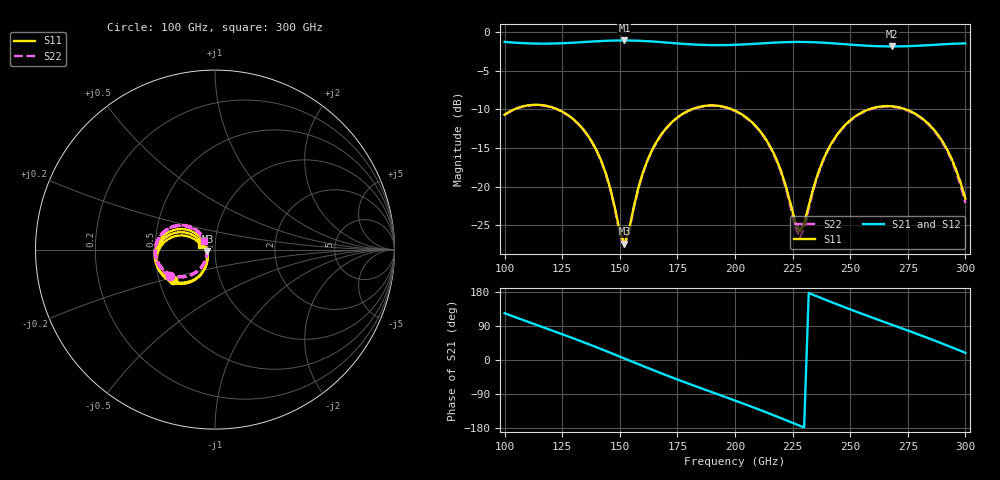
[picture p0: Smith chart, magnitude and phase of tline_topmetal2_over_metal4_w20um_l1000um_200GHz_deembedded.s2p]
! Created with skrf 2.0.1 (http://scikit-rf.org).
# GHz S DB R 50.0
!freq dBS11 angS11 dBS21 angS21 dBS12 angS12 dBS22 angS22
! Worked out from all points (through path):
!   101 points, 100 GHz to 300 GHz, reference 50 ohm
!   highest |S21| = -1.07 dB at 152 GHz (marker M1); lowest = -1.8 dB at 268 GHz (marker M2)
!   group delay of S21, straight-line fit = 6.47 ps
!   lowest |S11| = -27.4 dB at 152 GHz (marker M3), VSWR 1.09, Z = 46 - j0.805 ohm
!   |S11| at or under -10 dB: 123 GHz to 181.2 GHz (58.17 GHz wide, 38.2 % of centre); 198.7 GHz to 258 GHz (59.39 GHz wide, 26 % of centre); 274.1 GHz to end of sweep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
!   |S22| runs from -27.7 to -9.4 dB; largest |S21 - S12| = 9.8e-14
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100  -10.69 -143.9  -1.26 123.5  -1.26 123.5  -10.73 -149.1
108  -9.61 -159.6  -1.42 105.5  -1.42 105.5  -9.64 -165.3
118  -9.53 -179.0  -1.48 83.5  -1.48 83.5  -9.57 174.8
134  -12.54 151.2  -1.28 47.5  -1.28 47.5  -12.59 143.9
144  -18.37 139.3  -1.12 23.7  -1.12 23.7  -18.44 131.2
152  -27.39 -168.2  -1.07 4.0  -1.07 4.0  -27.73 -176.0
160  -18.22 -118.3  -1.13 -15.7  -1.13 -15.7  -18.29 -126.1
168  -13.26 -127.1  -1.29 -35.0  -1.29 -35.0  -13.31 -135.6
184  -9.71 -156.2  -1.62 -71.7  -1.62 -71.7  -9.76 -165.9
200  -10.17 174.0  -1.63 -107.0  -1.63 -107.0  -10.22 163.1
216  -15.22 148.3  -1.37 -144.0  -1.37 -144.0  -15.32 135.8
220  -18.02 146.4  -1.31 -153.6  -1.31 -153.6  -18.19 133.1
228  -25.81 -168.4  -1.26 -173.3  -1.26 -173.3  -26.67 179.6
234  -20.23 -120.8  -1.30 171.9  -1.30 171.9  -20.48 -130.7
240  -15.42 -120.0  -1.39 157.2  -1.39 157.2  -15.53 -131.2
248  -11.97 -131.3  -1.56 138.2  -1.56 138.2  -12.04 -143.5
258  -10.00 -148.9  -1.76 115.4  -1.76 115.4  -10.07 -162.2
268  -9.60 -167.1  -1.84 93.3  -1.84 93.3  -9.66 178.7
278  -10.53 175.0  -1.77 71.0  -1.77 71.0  -10.61 159.9
288  -13.25 158.9  -1.61 48.0  -1.61 48.0  -13.37 142.6
294  -16.39 153.1  -1.51 33.7  -1.51 33.7  -16.58 135.7
300  -21.58 161.5  -1.45 19.0  -1.45 19.0  -22.11 142.6
